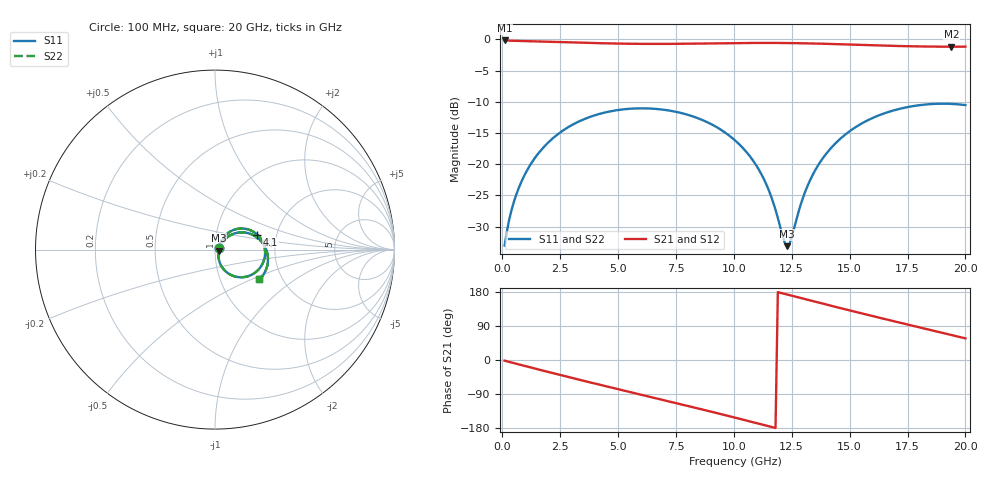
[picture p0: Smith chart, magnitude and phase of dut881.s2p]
! Touchstone file exported from HFSS 2026.1.0
!  File:  C:/ffzhzh/LocalFiles/Ansys_Project_Files/temp_train_TSV_RDL_881_1783273714_5512.aedt
!  Generated:  01:59:43 AM Jul  6, 2026
!  Design:  TSV_RDL
!  Project:  temp_train_TSV_RDL_881_1783273714_5512
! Variables:
!  h_bsmrdl = 4.3um
!  h_ox = 20um
!  h_rdl = 5um
!  h_sub = 70.96um
!  h_tmrdl = 3.14um
!  h_tsv = 70.96um
!  h_via = 3um
!  l_bsmrdl = 878.62um
!  l_sub = 5145.81um
!  l_tmrdl = 490.28um
!  m_sub = 200um
!  pitch = 36.44um
!  r_tsv = 11.41um
!  s_tmrdl = 10um
!  w_bsmrdl = 20.04um
!  w_sub = 500um
!  w_tmrdl = 29.57um
!  x_tsv_center1 = 505.065um
!  x_tsv_center2 = 1403.725um
!  x_tsv_center3 = 1923.575um
!  x_tsv_center4 = 2822.235um
!  x_tsv_center5 = 3342.085um
!  x_tsv_center6 = 4240.745um
# GHz S MA R 50.000000
! Terminal data exported
! Port[1] = TM_RDL1_1_T1
! Port[2] = TM_RDL5_1_T1
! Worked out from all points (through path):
!   200 points, 100 MHz to 20 GHz, reference 50 ohm
!   highest |S21| = -0.17 dB at 100 MHz (marker M1); lowest = -1.2 dB at 19.4 GHz (marker M2)
!   group delay of S21, straight-line fit = 42.1 ps
!   lowest |S11| = -33.1 dB at 12.3 GHz (marker M3), VSWR 1.05, Z = 52.2 - j0.551 ohm
!   |S11| at or under -10 dB: start of sweep to end of sweep
!   |S22| runs from -33.1 to -10.3 dB; largest |S21 - S12| = 6.6e-14
!   S11 on the Smith chart (normalised r, x): 100 MHz: 1.04, +0.02; 4.1 GHz: 1.59, +0.28; 20 GHz: 1.54, -0.56
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0.1  0.02232 26.0  0.9802 -1.8  0.9802 -1.8  0.02232 26.0
! Gamma 0 0 0 0
! Port Impedance 50 0 50 0
0.3  0.03612 45.5  0.9767 -5.1  0.9767 -5.1  0.03612 45.5
0.5  0.05 51.7  0.974 -8.3  0.974 -8.3  0.05 51.7
1.2  0.09823 53.9  0.9669 -19.3  0.9669 -19.3  0.09823 53.9
2.2  0.1624 44.4  0.9559 -34.9  0.9559 -34.9  0.1624 44.4
3.5  0.2282 27.6  0.9398 -54.7  0.9398 -54.7  0.2282 27.6
4.1  0.25 19.4  0.9331 -63.7  0.9331 -63.7  0.25 19.4
5.4  0.2772 1.6  0.9229 -82.8  0.9229 -82.8  0.2772 1.6
6.8  0.2756 -17.5  0.9198 -103.3  0.9198 -103.3  0.2756 -17.5
8.4  0.2354 -39.2  0.9249 -127.0  0.9249 -127.0  0.2355 -39.1
10.1  0.1524 -60.8  0.9337 -152.9  0.9337 -152.9  0.1525 -60.8
11.3  0.07583 -70.0  0.9366 -171.5  0.9366 -171.5  0.07585 -70.0
12.3  0.02208 -13.8  0.9346 172.8  0.9346 172.8  0.02205 -13.9
12.4  0.02302 3.2  0.9341 171.2  0.9341 171.2  0.02298 3.1
13  0.05484 43.9  0.9305 161.8  0.9305 161.8  0.0548 44.0
13.4  0.08181 46.1  0.9272 155.6  0.9272 155.6  0.08177 46.1
14  0.1221 42.5  0.9212 146.3  0.9212 146.3  0.1221 42.5
14.7  0.1662 35.0  0.9131 135.5  0.9131 135.5  0.1662 35.1
16.7  0.2632 9.6  0.8889 105.4  0.8889 105.4  0.2631 9.6
18  0.2969 -7.5  0.878 86.3  0.878 86.3  0.2969 -7.5
19.4  0.3043 -25.9  0.8739 65.9  0.8739 65.9  0.3043 -25.9
20  0.2976 -33.8  0.8747 57.1  0.8747 57.1  0.2976 -33.7
